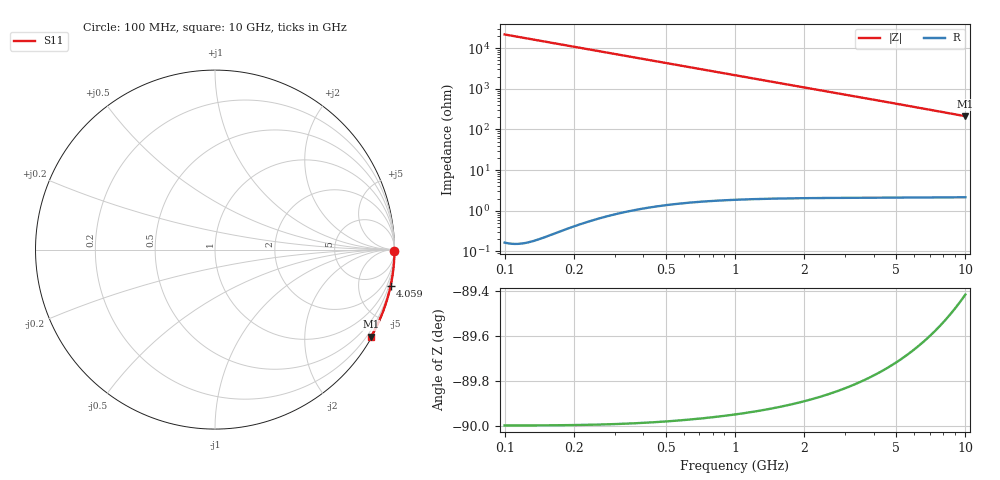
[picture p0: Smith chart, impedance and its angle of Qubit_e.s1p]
! Created with skrf (http://scikit-rf.org).
# GHz S RI R 54.93
!freq ReS11 ImS11
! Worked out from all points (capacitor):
!   99001 points, 100 MHz to 10 GHz, reference 54.93 ohm
!   read as one part to ground: C = 73.6 fF near 149.5 MHz
!   lowest |Z| = 211 ohm at 10 GHz (marker M1)
!   S11 on the Smith chart (normalised r, x): 100 MHz: open; 4.059 GHz: 0.04, -9.66; 10 GHz: 0.04, -3.85
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0.1  1 -0.00508
0.1243  1 -0.00632
0.1485  1 -0.00754
0.7423  0.9993 -0.0377
1.3375  0.9976 -0.0679
1.6466  0.9964 -0.0836
1.9559  0.9949 -0.0992
2.2653  0.9931 -0.1148
2.575  0.9911 -0.1305
2.884  0.9889 -0.146
3.1932  0.9864 -0.1615
3.5027  0.9836 -0.177
3.8125  0.9806 -0.1924
4.0588  0.978 -0.2047
4.5539  0.9723 -0.2292
5.05  0.966 -0.2536
5.3586  0.9618 -0.2687
5.6677  0.9573 -0.2837
5.9773  0.9525 -0.2987
6.2875  0.9475 -0.3137
6.905  0.9368 -0.3431
7.525  0.9251 -0.3724
8.1422  0.9125 -0.4011
8.7625  0.8989 -0.4295
9.2413  0.8877 -0.4511
9.7223  0.876 -0.4725
9.9546  0.8702 -0.4827
10  0.869 -0.4847
